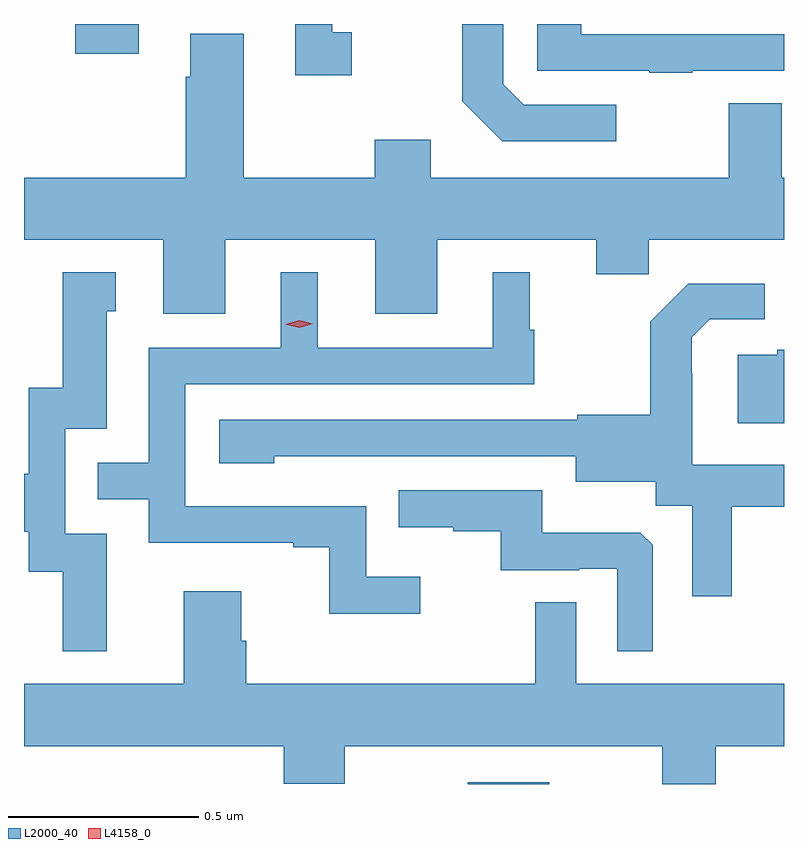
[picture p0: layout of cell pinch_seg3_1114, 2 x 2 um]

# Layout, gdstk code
import gdstk
lib = gdstk.Library(unit=1e-6, precision=1e-09)
def R(c, l, rs):  # rectangles x0, y0, x1, y1
    for r in rs: c.add(gdstk.rectangle(r[:2], r[2:], *l))
def P(c, l, *ps):  # polygons
    for p in ps: c.add(gdstk.Polygon(p, *l))
L2000_40 = (2000, 40)
L4158_0 = (4158, 0)

pinch_seg3_1114 = lib.new_cell('pinch_seg3_1114')
R(pinch_seg3_1114, L2000_40, [(160.611,731.452,160.825,731.457), (159.578,733.374,159.745,733.452)])
P(pinch_seg3_1114, L2000_40, [(161.002,733.239),(160.758,733.239),(160.704,733.293),(160.704,733.452),(160.596,733.452),(160.596,733.249),(160.701,733.143),(161.002,733.143)],
  [(161.201,733.329),(161.443,733.329),(161.443,733.425),(160.91,733.425),(160.91,733.452),(160.794,733.452),(160.794,733.329),(161.089,733.329),(161.089,733.324),(161.201,733.324)],
  [(160.306,733.43),(160.254,733.43),(160.254,733.452),(160.157,733.452),(160.157,733.317),(160.306,733.317)],
  [(159.973,732.884),(160.367,732.884),(160.367,732.69),(160.531,732.69),(160.531,732.884),(160.949,732.884),(160.949,732.794),(161.087,732.794),(161.087,732.884),(161.443,732.884),(161.443,733.048),(161.437,733.048),(161.437,733.243),(161.297,733.243),(161.297,733.048),(160.513,733.048),(160.513,733.147),(160.366,733.147),(160.366,733.048),(160.021,733.048),(160.021,733.426),(159.881,733.426),(159.881,733.313),(159.869,733.313),(159.869,733.048),(159.443,733.048),(159.443,732.884),(159.809,732.884),(159.809,732.69),(159.973,732.69)],
  [(160.486,731.998),(160.344,731.998),(160.344,732.183),(159.867,732.183),(159.867,732.504),(160.786,732.504),(160.786,732.648),(160.774,732.648),(160.774,732.799),(160.676,732.799),(160.676,732.6),(160.216,732.6),(160.216,732.799),(160.118,732.799),(160.118,732.6),(159.771,732.6),(159.771,732.297),(159.637,732.297),(159.637,732.201),(159.771,732.201),(159.771,732.087),(160.151,732.087),(160.151,732.075),(160.246,732.075),(160.246,731.9),(160.486,731.9)],
  [(159.661,732.111),(159.552,732.111),(159.552,732.387),(159.661,732.387),(159.661,732.696),(159.685,732.696),(159.685,732.799),(159.545,732.799),(159.545,732.495),(159.456,732.495),(159.456,732.268),(159.443,732.268),(159.443,732.116),(159.455,732.116),(159.455,732.01),(159.545,732.01),(159.545,731.802),(159.661,731.802)],
  [(161.305,732.182),(161.443,732.182),(161.443,732.292),(161.202,732.292),(161.202,732.533),(161.2,732.533),(161.2,732.628),(161.247,732.675),(161.392,732.675),(161.392,732.769),(161.191,732.769),(161.091,732.669),(161.091,732.424),(160.899,732.424),(160.899,732.411),(159.957,732.411),(159.957,732.296),(160.101,732.296),(160.101,732.314),(160.337,732.314),(160.337,732.315),(160.895,732.315),(160.895,732.248),(161.106,732.248),(161.106,732.184),(161.201,732.184),(161.201,731.946),(161.305,731.946)],
  [(161.443,732.595),(161.425,732.595),(161.425,732.582),(161.321,732.582),(161.321,732.402),(161.443,732.402)],
  [(161.097,732.081),(161.065,732.113),(160.807,732.113),(160.807,732.225),(160.429,732.225),(160.429,732.128),(160.573,732.128),(160.573,732.117),(160.697,732.117),(160.697,732.015),(160.904,732.015),(160.904,732.018),(161.004,732.018),(161.004,731.801),(161.097,731.801)],
  [(161.263,731.552),(161.443,731.552),(161.443,731.716),(160.896,731.716),(160.896,731.93),(160.788,731.93),(160.788,731.716),(160.028,731.716),(160.028,731.829),(160.015,731.829),(160.015,731.959),(159.863,731.959),(159.863,731.716),(159.443,731.716),(159.443,731.552),(160.127,731.552),(160.127,731.453),(160.287,731.453),(160.287,731.552),(161.123,731.552),(161.123,731.452),(161.263,731.452)])
P(pinch_seg3_1114, L4158_0, [(160.167,732.653),(160.131,732.662),(160.131,732.662),(160.131,732.662),(160.167,732.673),(160.203,732.663),(160.203,732.663),(160.203,732.663)])

lib.write_gds('pinch_seg3_1114.gds')
